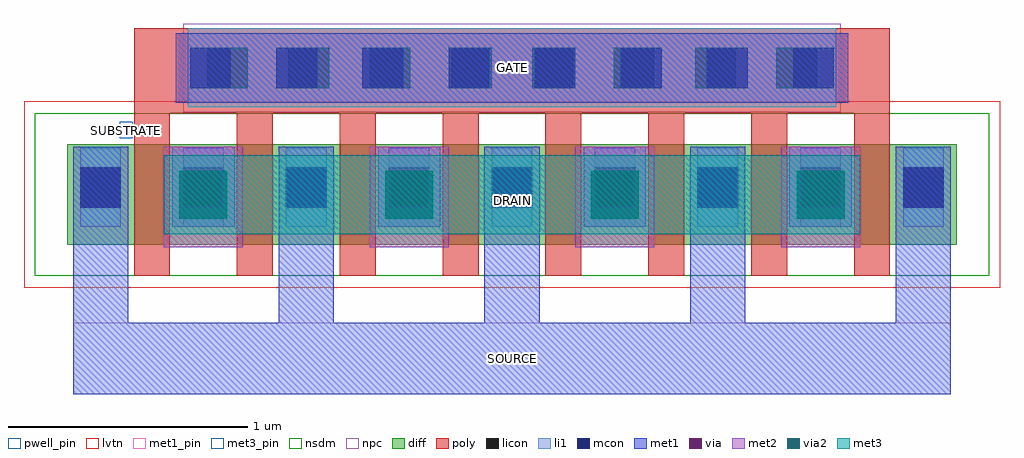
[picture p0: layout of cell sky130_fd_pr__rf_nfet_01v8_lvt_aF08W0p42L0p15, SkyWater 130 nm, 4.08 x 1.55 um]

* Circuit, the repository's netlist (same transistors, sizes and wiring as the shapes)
* Copyright 2020 The SkyWater PDK Authors
*
* Licensed under the Apache License, Version 2.0 (the "License");
* you may not use this file except in compliance with the License.
* You may obtain a copy of the License at
*
*     https://www.apache.org/licenses/LICENSE-2.0
*
* Unless required by applicable law or agreed to in writing, software
* distributed under the License is distributed on an "AS IS" BASIS,
* WITHOUT WARRANTIES OR CONDITIONS OF ANY KIND, either express or implied.
* See the License for the specific language governing permissions and
* limitations under the License.
*
* SPDX-License-Identifier: Apache-2.0


.subckt sky130_fd_pr__rf_nfet_01v8_lvt_aF08W0p42L0p15 DRAIN GATE SOURCE SUBSTRATE
X0 SOURCE GATE DRAIN SUBSTRATE sky130_fd_pr__nfet_01v8_lvt w=420000u l=150000u
X1 DRAIN GATE SOURCE SUBSTRATE sky130_fd_pr__nfet_01v8_lvt w=420000u l=150000u
X2 DRAIN GATE SOURCE SUBSTRATE sky130_fd_pr__nfet_01v8_lvt w=420000u l=150000u
X3 DRAIN GATE SOURCE SUBSTRATE sky130_fd_pr__nfet_01v8_lvt w=420000u l=150000u
X4 SOURCE GATE DRAIN SUBSTRATE sky130_fd_pr__nfet_01v8_lvt w=420000u l=150000u
X5 SOURCE GATE DRAIN SUBSTRATE sky130_fd_pr__nfet_01v8_lvt w=420000u l=150000u
X6 DRAIN GATE SOURCE SUBSTRATE sky130_fd_pr__nfet_01v8_lvt w=420000u l=150000u
X7 SOURCE GATE DRAIN SUBSTRATE sky130_fd_pr__nfet_01v8_lvt w=420000u l=150000u
.ends

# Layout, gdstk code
import gdstk
lib = gdstk.Library(unit=1e-6, precision=1e-09)
def R(c, l, rs):  # rectangles x0, y0, x1, y1
    for r in rs: c.add(gdstk.rectangle(r[:2], r[2:], *l))
def A(c, l, x, y, w, h, nx, ny, dx, dy):  # array of equal rectangles
    R(c, l, [(x+i*dx, y+j*dy, x+i*dx+w, y+j*dy+h) for i in range(nx) for j in range(ny)])
diff = (65, 20)
poly = (66, 20)
licon = (66, 44)
li1 = (67, 20)
mcon = (67, 44)
met1_pin = (68, 16)
met1 = (68, 20)
via = (68, 44)
met2 = (69, 20)
via2 = (69, 44)
met3_pin = (70, 16)
met3 = (70, 20)
nsdm = (93, 44)
npc = (95, 20)
pwell_pin = (122, 16)
lvtn = (125, 44)

sky130_fd_pr__rf_nfet_01 = lib.new_cell('sky130_fd_pr__rf_nfet_01v8_lvt_aF08W0p42L0p15')
A(sky130_fd_pr__rf_nfet_01, diff, 0.18, 0.18, 0.28, 0.42, 3, 1, 0.43, 0)
A(sky130_fd_pr__rf_nfet_01, diff, 0.21, 0.18, 0.25, 0.42, 4, 1, 0.86, 0)
A(sky130_fd_pr__rf_nfet_01, diff, 0.46, 0.18, 0.15, 0.42, 8, 1, 0.43, 0)
A(sky130_fd_pr__rf_nfet_01, diff, 1.04, 0.18, 0.28, 0.42, 3, 1, 0.43, 0)
A(sky130_fd_pr__rf_nfet_01, diff, 1.9, 0.18, 0.28, 0.42, 3, 1, 0.43, 0)
A(sky130_fd_pr__rf_nfet_01, diff, 2.76, 0.18, 0.28, 0.42, 3, 1, 0.43, 0)
R(sky130_fd_pr__rf_nfet_01, diff, [(3.62,0.18,3.9,0.6), (3.62,0.18,3.87,0.6), (3.65,0.18,3.9,0.6)])
A(sky130_fd_pr__rf_nfet_01, poly, 0.46, 0.05, 0.15, 0.68, 8, 1, 0.43, 0)
A(sky130_fd_pr__rf_nfet_01, poly, 0.46, 0.05, 0.15, 0.13, 8, 2, 0.43, 0.55)
R(sky130_fd_pr__rf_nfet_01, poly, [(0.46,0.73,3.62,1.085), (0.685,0.755,3.395,1.085)])
A(sky130_fd_pr__rf_nfet_01, licon, 0.235, 0.335, 0.17, 0.17, 9, 1, 0.43, 0)
A(sky130_fd_pr__rf_nfet_01, licon, 0.765, 0.835, 0.17, 0.17, 8, 1, 0.34, 0)
A(sky130_fd_pr__rf_nfet_01, li1, 0.235, 0.255, 0.17, 0.33, 9, 1, 0.43, 0)
R(sky130_fd_pr__rf_nfet_01, li1, [(0.685,0.755,3.395,1.085), (0.695,0.835,3.385,1.005)])
A(sky130_fd_pr__rf_nfet_01, mcon, 0.235, 0.335, 0.17, 0.17, 9, 1, 0.43, 0)
A(sky130_fd_pr__rf_nfet_01, mcon, 0.695, 0.835, 0.17, 0.17, 8, 1, 0.36, 0)
R(sky130_fd_pr__rf_nfet_01, met1_pin, [(0.205,-0.445,3.875,-0.145), (0.635,0.775,3.445,1.065)])
A(sky130_fd_pr__rf_nfet_01, met1, 0.62, 0.275, 0.26, 0.23, 4, 1, 0.86, 0)
R(sky130_fd_pr__rf_nfet_01, met1, [(0.635,0.775,3.445,1.065)])
A(sky130_fd_pr__rf_nfet_01, via, 0.675, 0.345, 0.15, 0.15, 4, 1, 0.86, 0)
A(sky130_fd_pr__rf_nfet_01, met2, 0.585, 0.17, 0.33, 0.42, 4, 1, 0.86, 0)
A(sky130_fd_pr__rf_nfet_01, met2, 0.62, 0.27, 0.26, 0.22, 4, 1, 0.86, 0)
A(sky130_fd_pr__rf_nfet_01, via2, 0.65, 0.29, 0.2, 0.2, 4, 1, 0.86, 0)
R(sky130_fd_pr__rf_nfet_01, met3_pin, [(0.585,0.225,3.495,0.555)])
A(sky130_fd_pr__rf_nfet_01, nsdm, 0.21, 0.05, 0.4, 0.68, 7, 1, 0.43, 0)
A(sky130_fd_pr__rf_nfet_01, nsdm, 0.48, 0.05, 0.54, 0.68, 7, 1, 0.43, 0)
R(sky130_fd_pr__rf_nfet_01, nsdm, [(0.045,0.05,0.59,0.73), (3.22,0.05,3.87,0.73), (3.49,0.05,4.035,0.73)])
R(sky130_fd_pr__rf_nfet_01, npc, [(0.665,0.735,3.415,1.105)])
R(sky130_fd_pr__rf_nfet_01, pwell_pin, [(0.4,0.625,0.455,0.695)])
R(sky130_fd_pr__rf_nfet_01, lvtn, [(0,0,4.08,0.78)])
sky130_fd_pr__rf_nfet_01.add(gdstk.FlexPath([(0.585,0.39),(3.495,0.39)], 0.33, ends="flush", simple_path=True, layer=70, datatype=20))  # met3
sky130_fd_pr__rf_nfet_01.add(gdstk.FlexPath([(2.9,0.59),(2.9,-0.445)], 0.23, ends="flush", simple_path=True, layer=68, datatype=20))  # met1
sky130_fd_pr__rf_nfet_01.add(gdstk.FlexPath([(3.76,0.59),(3.76,-0.445)], 0.23, ends="flush", simple_path=True, layer=68, datatype=20))  # met1
sky130_fd_pr__rf_nfet_01.add(gdstk.FlexPath([(2.04,0.59),(2.04,-0.445)], 0.23, ends="flush", simple_path=True, layer=68, datatype=20))  # met1
sky130_fd_pr__rf_nfet_01.add(gdstk.FlexPath([(0.205,-0.295),(3.875,-0.295)], 0.3, ends="flush", simple_path=True, layer=68, datatype=20))  # met1
sky130_fd_pr__rf_nfet_01.add(gdstk.FlexPath([(1.18,0.59),(1.18,-0.445)], 0.23, ends="flush", simple_path=True, layer=68, datatype=20))  # met1
sky130_fd_pr__rf_nfet_01.add(gdstk.FlexPath([(3.33,0.59),(3.33,0.255)], 0.26, ends="flush", simple_path=True, layer=68, datatype=20))  # met1
sky130_fd_pr__rf_nfet_01.add(gdstk.FlexPath([(2.47,0.59),(2.47,0.255)], 0.26, ends="flush", simple_path=True, layer=68, datatype=20))  # met1
sky130_fd_pr__rf_nfet_01.add(gdstk.FlexPath([(1.61,0.59),(1.61,0.255)], 0.26, ends="flush", simple_path=True, layer=68, datatype=20))  # met1
sky130_fd_pr__rf_nfet_01.add(gdstk.FlexPath([(0.75,0.59),(0.75,0.255)], 0.26, ends="flush", simple_path=True, layer=68, datatype=20))  # met1
sky130_fd_pr__rf_nfet_01.add(gdstk.FlexPath([(0.32,0.59),(0.32,-0.445)], 0.23, ends="flush", simple_path=True, layer=68, datatype=20))  # met1
sky130_fd_pr__rf_nfet_01.add(gdstk.Label('DRAIN', (2.04,0.365), layer=70, texttype=16))
sky130_fd_pr__rf_nfet_01.add(gdstk.Label('SOURCE', (2.04,-0.295), layer=68, texttype=16))
sky130_fd_pr__rf_nfet_01.add(gdstk.Label('GATE', (2.04,0.92), layer=68, texttype=16))
sky130_fd_pr__rf_nfet_01.add(gdstk.Label('SUBSTRATE', (0.43,0.66), layer=64, texttype=59))

lib.write_gds('sky130_fd_pr__rf_nfet_01v8_lvt_aF08W0p42L0p15.gds')
